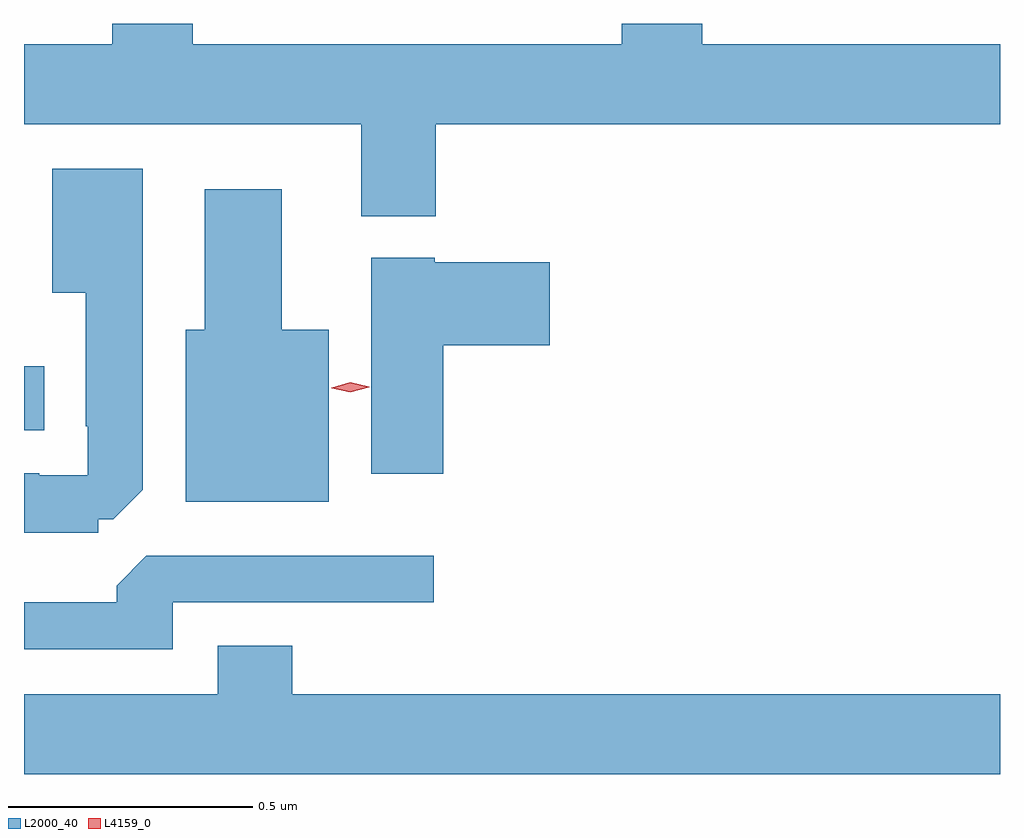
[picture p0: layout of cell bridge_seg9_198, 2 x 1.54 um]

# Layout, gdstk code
import gdstk
lib = gdstk.Library(unit=1e-6, precision=1e-09)
def R(c, l, rs):  # rectangles x0, y0, x1, y1
    for r in rs: c.add(gdstk.rectangle(r[:2], r[2:], *l))
def P(c, l, *ps):  # polygons
    for p in ps: c.add(gdstk.Polygon(p, *l))
L2000_40 = (2000, 40)
L4159_0 = (4159, 0)

bridge_seg9_198 = lib.new_cell('bridge_seg9_198')
R(bridge_seg9_198, L2000_40, [(171.964,1211.777,172.006,1211.908)])
P(bridge_seg9_198, L2000_40, [(172.808,1212.404),(173.964,1212.404),(173.964,1212.568),(173.354,1212.568),(173.354,1212.61),(173.189,1212.61),(173.189,1212.568),(172.31,1212.568),(172.31,1212.61),(172.145,1212.61),(172.145,1212.568),(171.964,1212.568),(171.964,1212.404),(172.655,1212.404),(172.655,1212.215),(172.808,1212.215)],
  [(172.116,1211.595),(172.147,1211.595),(172.207,1211.655),(172.207,1212.313),(172.022,1212.313),(172.022,1212.059),(172.091,1212.059),(172.091,1211.785),(172.095,1211.785),(172.095,1211.685),(171.995,1211.685),(171.995,1211.689),(171.964,1211.689),(171.964,1211.567),(172.116,1211.567)],
  [(172.588,1211.983),(172.492,1211.983),(172.492,1212.271),(172.334,1212.271),(172.334,1211.983),(172.295,1211.983),(172.295,1211.63),(172.588,1211.63)],
  [(172.823,1211.951),(173.041,1211.951),(173.041,1212.121),(172.806,1212.121),(172.806,1212.13),(172.676,1212.13),(172.676,1211.688),(172.823,1211.688)],
  [(172.269,1211.424),(172.804,1211.424),(172.804,1211.52),(172.215,1211.52),(172.154,1211.458),(172.154,1211.424),(171.964,1211.424),(171.964,1211.328),(172.269,1211.328)],
  [(173.964,1211.236),(172.514,1211.236),(172.514,1211.335),(172.361,1211.335),(172.361,1211.236),(171.964,1211.236),(171.964,1211.072),(173.964,1211.072)])
P(bridge_seg9_198, L4159_0, [(172.633,1211.855),(172.595,1211.863),(172.594,1211.864),(172.595,1211.864),(172.633,1211.875),(172.671,1211.866),(172.671,1211.866),(172.671,1211.865)])

lib.write_gds('bridge_seg9_198.gds')
